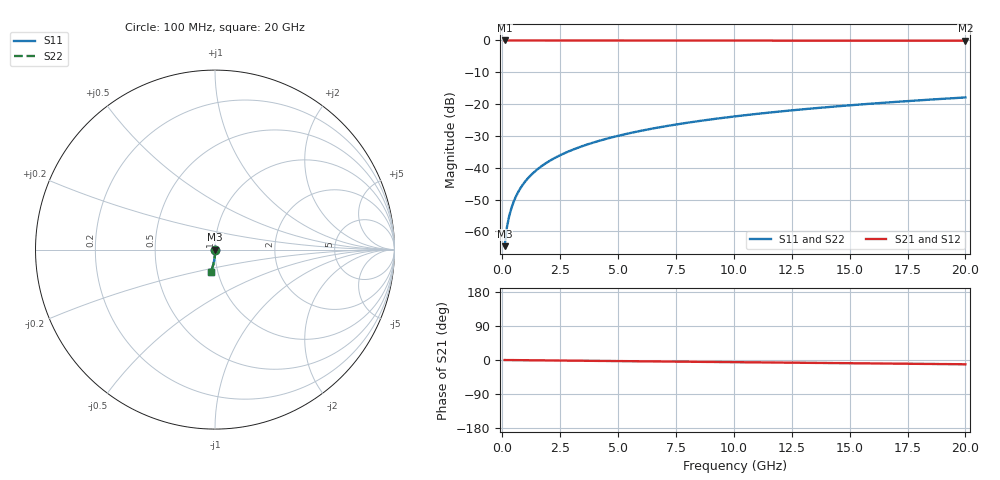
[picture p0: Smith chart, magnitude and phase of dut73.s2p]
! Touchstone file exported from HFSS 2026.1.0
!  File:  C:/ffzhzh/LocalFiles/Ansys_Project_Files/temp_train_TSV_73_1782959277_45308.aedt
!  Generated:  10:29:24 AM Jul  2, 2026
!  Design:  TSV
!  Project:  temp_train_TSV_73_1782959277_45308
! Variables:
!  h_bsmrdl = 2um
!  h_ox = 20um
!  h_rdl = 5um
!  h_sub = 93.51um
!  h_tmrdl = 5um
!  h_tsv = 93.51um
!  h_via = 3um
!  l_bsmrdl = 300um
!  l_sub = 425.9um
!  l_tmrdl = 200um
!  m_sub = 200um
!  pitch = 30.9um
!  r_tsv = 12.95um
!  s_tmrdl = 10um
!  w_bsmrdl = 18um
!  w_sub = 500um
!  w_tmrdl = 12um
!  x_tsv_center1 = 206um
!  x_tsv_center2 = 524um
!  x_tsv_center3 = 736um
!  x_tsv_center4 = 1054um
!  x_tsv_center5 = 1266um
!  x_tsv_center6 = 1584um
# GHz S MA R 50.000000
! Terminal data exported
! Port[1] = TSV1_1_T1
! Port[2] = TSV1_1_T2
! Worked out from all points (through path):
!   200 points, 100 MHz to 20 GHz, reference 50 ohm
!   highest |S21| = 0.00 dB at 100 MHz (marker M1); lowest = -0.1 dB at 20 GHz (marker M2)
!   group delay of S21, straight-line fit = 1.56 ps
!   lowest |S11| = -64.6 dB at 100 MHz (marker M3), VSWR 1.00, Z = 50 - j0.0576 ohm
!   |S11| at or under -10 dB: start of sweep to end of sweep
!   |S22| runs from -64.6 to -17.9 dB; largest |S21 - S12| = 4.3e-15
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0.1  0.000587 -78.7  0.9999 -0.1  0.9999 -0.1  0.000587 -78.7
! Gamma 0 0 0 0
! Port Impedance 50 0 50 0
0.2  0.001166 -83.2  0.9999 -0.1  0.9999 -0.1  0.001166 -83.2
0.3  0.001761 -84.5  0.9998 -0.2  0.9998 -0.2  0.001761 -84.5
0.4  0.002368 -85.1  0.9998 -0.2  0.9998 -0.2  0.002368 -85.1
0.5  0.002986 -85.5  0.9997 -0.3  0.9997 -0.3  0.002986 -85.5
0.7  0.004245 -86.1  0.9997 -0.4  0.9997 -0.4  0.004245 -86.1
0.8  0.004881 -86.4  0.9996 -0.5  0.9996 -0.5  0.004881 -86.4
1  0.006158 -86.9  0.9996 -0.6  0.9996 -0.6  0.006158 -86.9
1.2  0.007438 -87.4  0.9995 -0.7  0.9995 -0.7  0.007438 -87.4
1.4  0.008718 -87.8  0.9995 -0.8  0.9995 -0.8  0.008718 -87.8
1.7  0.01064 -88.3  0.9994 -1.0  0.9994 -1.0  0.01064 -88.3
2  0.01255 -88.7  0.9994 -1.2  0.9994 -1.2  0.01255 -88.7
2.7  0.01703 -89.5  0.9993 -1.6  0.9993 -1.6  0.01703 -89.5
3.5  0.02215 -90.2  0.9991 -2.0  0.9991 -2.0  0.02215 -90.2
4.2  0.02663 -90.8  0.9989 -2.4  0.9989 -2.4  0.02663 -90.8
5  0.03177 -91.4  0.9987 -2.9  0.9987 -2.9  0.03177 -91.4
6.8  0.04333 -92.6  0.9981 -3.9  0.9981 -3.9  0.04333 -92.6
8.3  0.05296 -93.6  0.9975 -4.7  0.9975 -4.7  0.05296 -93.6
10.1  0.06451 -94.7  0.9967 -5.7  0.9967 -5.7  0.06451 -94.7
13.4  0.08559 -96.7  0.9949 -7.6  0.9949 -7.6  0.08559 -96.7
16.7  0.1065 -98.6  0.9928 -9.4  0.9928 -9.4  0.1065 -98.6
20  0.1273 -100.5  0.9901 -11.3  0.9901 -11.3  0.1273 -100.5
